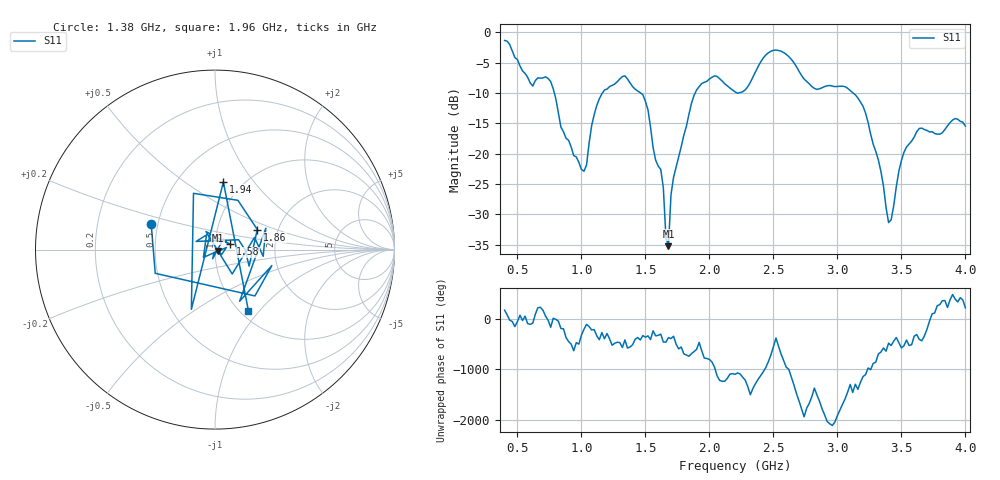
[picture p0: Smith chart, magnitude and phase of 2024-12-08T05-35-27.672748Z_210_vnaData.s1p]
!Created with skrf (http://scikit-rf.org).
# Hz S RI R 50.0
!freq ReS11 ImS11
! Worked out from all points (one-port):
!   181 points, 400 MHz to 4 GHz, reference 50 ohm
!   lowest |S11| = -35.2 dB at 1.68 GHz (marker M1), VSWR 1.04, Z = 51.7 - j0.536 ohm
!   |S11| at or under -10 dB: 788.7 MHz to 1.164 GHz (374.9 MHz wide, 38.4 % of centre); 1.465 GHz to 1.888 GHz (423.9 MHz wide, 25.3 % of centre); 3.124 GHz to end of sweep (the widest 3 of 4)
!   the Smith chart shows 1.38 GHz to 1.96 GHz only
!   S11 on the Smith chart (normalised r, x): 1.38 GHz: 0.46, +0.16; 1.58 GHz: 1.18, +0.07; 1.86 GHz: 1.56, +0.37; 1.94 GHz: 0.81, +0.72; 1.96 GHz: 1.09, -0.88
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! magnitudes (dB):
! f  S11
! 400 MHz  -1.3
! 620 MHz  -8.8
! 760 MHz  -8.1
! 860 MHz  -16.4
! 1.02 GHz  -22.9
! 1.14 GHz  -10.9
! 1.3 GHz  -7.7
! 1.38 GHz  -8.3
! 1.5 GHz  -11.3
! 1.58 GHz  -21.0
! 1.62 GHz  -22.6
! 1.64 GHz  -25.6
! 1.66 GHz  -33.7
! 1.68 GHz  -35.2
! 1.7 GHz  -26.7
! 1.76 GHz  -20.5
! 1.86 GHz  -11.7
! 1.94 GHz  -8.4
! 1.96 GHz  -8.2
! 2.2 GHz  -9.8
! 2.48 GHz  -3.1
! 2.66 GHz  -5.0
! 2.82 GHz  -9.2
! 3.1 GHz  -9.6
! 3.22 GHz  -13.3
! 3.4 GHz  -31.3
! 3.56 GHz  -18.4
! 4 GHz  -15.4
